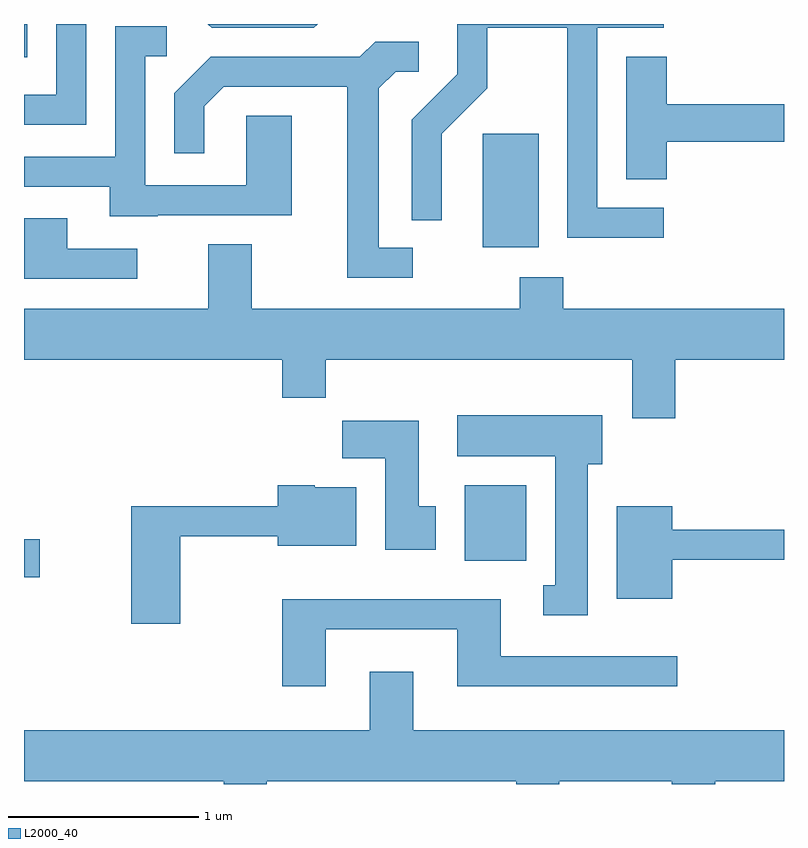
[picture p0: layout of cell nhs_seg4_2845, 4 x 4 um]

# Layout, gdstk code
import gdstk
lib = gdstk.Library(unit=1e-6, precision=1e-09)
def R(c, l, rs):  # rectangles x0, y0, x1, y1
    for r in rs: c.add(gdstk.rectangle(r[:2], r[2:], *l))
def P(c, l, *ps):  # polygons
    for p in ps: c.add(gdstk.Polygon(p, *l))
L2000_40 = (2000, 40)

nhs_seg4_2845 = lib.new_cell('nhs_seg4_2845')
R(nhs_seg4_2845, L2000_40, [(267.611,1369.071,267.694,1369.269), (269.931,1369.156,270.254,1369.554), (270.026,1370.806,270.319,1371.404), (267.611,1371.806,267.629,1371.982)])
P(nhs_seg4_2845, L2000_40, [(270.978,1371.014),(270.629,1371.014),(270.629,1371.961),(270.978,1371.961),(270.978,1371.982),(269.891,1371.982),(269.891,1371.717),(269.651,1371.477),(269.651,1370.948),(269.809,1370.948),(269.809,1371.404),(270.049,1371.644),(270.049,1371.961),(270.471,1371.961),(270.471,1370.856),(270.978,1370.856)],
  [(269.158,1371.982),(268.578,1371.982),(268.599,1371.961),(269.137,1371.961)],
  [(267.939,1371.982),(267.781,1371.982),(267.781,1371.609),(267.611,1371.609),(267.611,1371.451),(267.939,1371.451)],
  [(268.315,1370.976),(269.019,1370.976),(269.019,1371.499),(268.781,1371.499),(268.781,1371.134),(268.249,1371.134),(268.249,1371.811),(268.363,1371.811),(268.363,1371.969),(268.091,1371.969),(268.091,1371.284),(267.611,1371.284),(267.611,1371.126),(268.061,1371.126),(268.061,1370.971),(268.315,1370.971)],
  [(269.658,1370.804),(269.479,1370.804),(269.479,1371.644),(269.567,1371.731),(269.688,1371.731),(269.688,1371.889),(269.459,1371.889),(269.379,1371.809),(268.594,1371.809),(268.401,1371.617),(268.401,1371.303),(268.559,1371.303),(268.559,1371.549),(268.662,1371.651),(269.311,1371.651),(269.311,1370.646),(269.658,1370.646)],
  [(270.994,1371.361),(271.611,1371.361),(271.611,1371.559),(270.994,1371.559),(270.994,1371.809),(270.781,1371.809),(270.781,1371.166),(270.994,1371.166)],
  [(268.208,1370.799),(267.839,1370.799),(267.839,1370.959),(267.611,1370.959),(267.611,1370.641),(268.208,1370.641)],
  [(271.039,1370.216),(271.611,1370.216),(271.611,1370.484),(270.449,1370.484),(270.449,1370.649),(270.221,1370.649),(270.221,1370.484),(268.809,1370.484),(268.809,1370.824),(268.581,1370.824),(268.581,1370.484),(267.611,1370.484),(267.611,1370.216),(268.971,1370.216),(268.971,1370.016),(269.199,1370.016),(269.199,1370.216),(270.811,1370.216),(270.811,1369.906),(271.039,1369.906)],
  [(270.579,1369.666),(270.654,1369.666),(270.654,1369.924),(269.891,1369.924),(269.891,1369.706),(270.406,1369.706),(270.406,1369.029),(270.343,1369.029),(270.343,1368.871),(270.579,1368.871)],
  [(269.779,1369.444),(269.689,1369.444),(269.689,1369.894),(269.286,1369.894),(269.286,1369.696),(269.511,1369.696),(269.511,1369.216),(269.779,1369.216)],
  [(268.434,1369.286),(268.946,1369.286),(268.946,1369.236),(269.359,1369.236),(269.359,1369.544),(269.14,1369.544),(269.14,1369.554),(268.946,1369.554),(268.946,1369.444),(268.176,1369.444),(268.176,1368.826),(268.434,1368.826)],
  [(271.024,1369.161),(271.611,1369.161),(271.611,1369.319),(271.024,1369.319),(271.024,1369.444),(270.731,1369.444),(270.731,1368.956),(271.024,1368.956)],
  [(269.199,1368.796),(269.891,1368.796),(269.891,1368.496),(271.048,1368.496),(271.048,1368.654),(270.119,1368.654),(270.119,1368.954),(268.971,1368.954),(268.971,1368.496),(269.199,1368.496)],
  [(268.889,1367.996),(270.201,1367.996),(270.201,1367.982),(270.429,1367.982),(270.429,1367.996),(271.021,1367.996),(271.021,1367.982),(271.249,1367.982),(271.249,1367.996),(271.611,1367.996),(271.611,1368.264),(269.659,1368.264),(269.659,1368.574),(269.431,1368.574),(269.431,1368.264),(267.611,1368.264),(267.611,1367.996),(268.661,1367.996),(268.661,1367.982),(268.889,1367.982)])

lib.write_gds('nhs_seg4_2845.gds')
